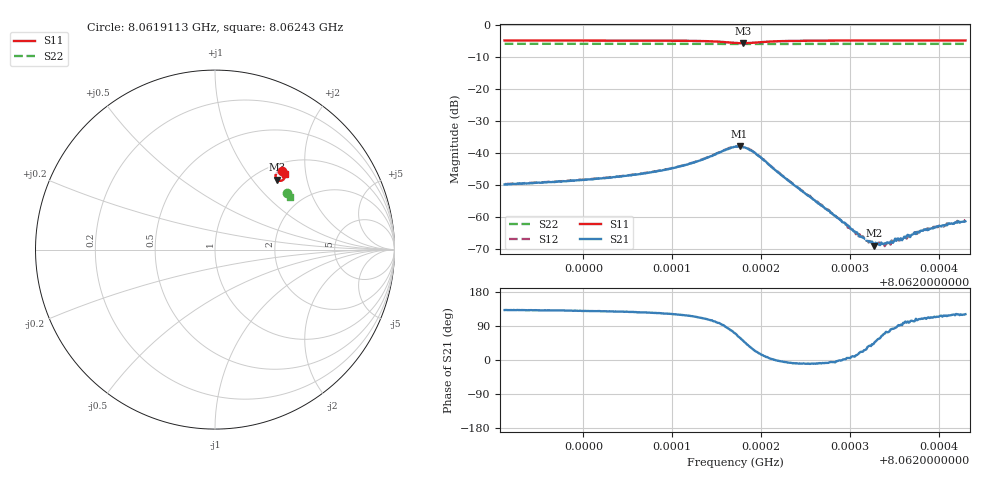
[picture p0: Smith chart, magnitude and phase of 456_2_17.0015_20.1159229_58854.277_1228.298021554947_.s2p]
#  HZ  S  RI  R  50.00
! Rohde & Schwarz Vector Network Analyzer
! Rohde-Schwarz,ZNB20-2Port,1311601062101988,3.16
! Created: UTC 3/20/2024, 11:12:28 PM
! freq[Hz]  re:S11  im:S11  re:S21  im:S21  re:S12  im:S12  re:S22  im:S22
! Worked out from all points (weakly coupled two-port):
!   401 points, 8.0619113 GHz to 8.06243 GHz, reference 50 ohm
!   highest |S21| = -37.95 dB at 8.0621759 GHz (marker M1); lowest = -69.0 dB at 8.0623276 GHz (marker M2)
!   lowest |S11| = -5.7 dB at 8.0621797 GHz (marker M3), VSWR 3.18, Z = 62.7 + j67.2 ohm
!   |S11| at or under -10 dB: nowhere
!   |S22| runs from -5.9 to -5.8 dB; largest |S21 - S12| = 0.00088
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8.06191134e9  0.3713 0.4406  -0.00215 0.00241  -0.00203 0.00261  0.4003 0.3165
8.06199822e9  0.3778 0.4345  -0.00239 0.00293  -0.00226 0.00306  0.4035 0.3121
8.06204619e9  0.3818 0.4298  -0.00264 0.00349  -0.00245 0.00367  0.4054 0.3096
8.06208509e9  0.3855 0.4242  -0.00293 0.00436  -0.00268 0.0046  0.4068 0.3076
8.06212658e9  0.3894 0.4121  -0.00296 0.00667  -0.00262 0.00689  0.4082 0.3048
8.06217066e9  0.3621 0.3833  0.00415 0.0118  0.00494 0.0116  0.4081 0.3019
8.06217585e9  0.352 0.3858  0.00643 0.0109  0.00714 0.0106  0.4077 0.302
8.06217974e9  0.3454 0.3903  0.00773 0.00953  0.00845 0.0092  0.4079 0.3021
8.06219141e9  0.3372 0.4112  0.00928 0.00479  0.00955 0.00429  0.4081 0.3026
8.06222901e9  0.3606 0.4354  0.00385 -0.000405  0.00385 -0.000687  0.4107 0.3016
8.06225754e9  0.3708 0.4348  0.00193 -0.000307  0.00189 -0.000457  0.4122 0.2999
8.06229643e9  0.3784 0.4318  0.00074 6.95e-05  0.000759 9.46e-06  0.4136 0.2979
8.06231199e9  0.3805 0.4308  0.000459 0.00018  0.000481 0.000132  0.4145 0.2972
8.06232755e9  0.3823 0.4296  0.000247 0.000256  0.000254 0.000265  0.4148 0.2963
8.06233404e9  0.383 0.4291  0.000195 0.000307  0.000209 0.000336  0.415 0.2959
8.06234052e9  0.3838 0.4288  0.000104 0.000372  0.000113 0.000356  0.4154 0.2956
8.06234441e9  0.3842 0.4286  9.95e-05 0.000377  0.000149 0.00039  0.4157 0.2954
8.06236386e9  0.3858 0.4272  -7.65e-05 0.000503  -1.59e-05 0.000458  0.4163 0.2943
8.06237164e9  0.3866 0.4267  -0.000115 0.000531  -0.000107 0.000547  0.4165 0.2939
8.06238201e9  0.3874 0.426  -0.000194 0.000577  -0.000177 0.000579  0.4169 0.2934
8.06239498e9  0.3885 0.4252  -0.000281 0.000624  -0.000241 0.000656  0.4173 0.2926
8.06242998e9  0.3911 0.4231  -0.000437 0.000735  -0.000393 0.000807  0.4184 0.2909
